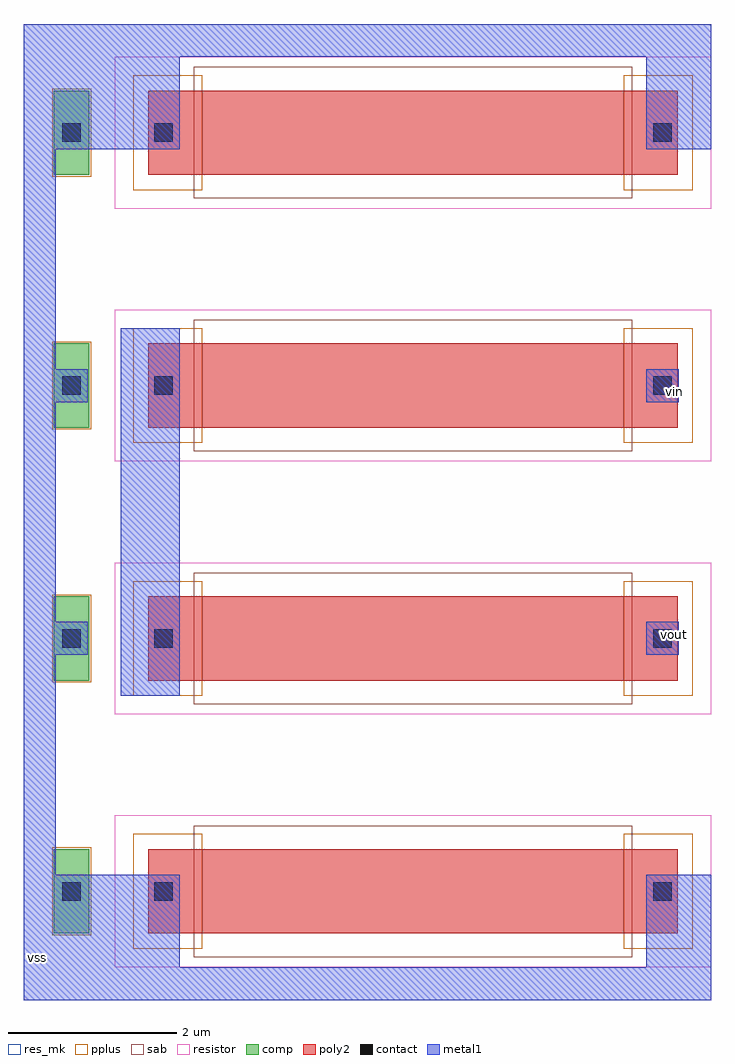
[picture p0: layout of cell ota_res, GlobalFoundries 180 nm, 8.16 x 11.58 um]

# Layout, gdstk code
import gdstk
lib = gdstk.Library(unit=1e-6, precision=1e-09)
def R(c, l, rs):  # rectangles x0, y0, x1, y1
    for r in rs: c.add(gdstk.rectangle(r[:2], r[2:], *l))
def A(c, l, x, y, w, h, nx, ny, dx, dy):  # array of equal rectangles
    R(c, l, [(x+i*dx, y+j*dy, x+i*dx+w, y+j*dy+h) for i in range(nx) for j in range(ny)])
comp = (22, 0)
poly2 = (30, 0)
pplus = (31, 0)
contact = (33, 0)
metal1 = (34, 0)
sab = (49, 0)
resistor = (62, 0)
res_mk = (110, 5)

ppolyf_u_high_rs_resisto = lib.new_cell('ppolyf_u_high_Rs_resistor')
A(ppolyf_u_high_rs_resisto, comp, -1.76, 0, 0.42, 1, 1, 4, 0, 3)
A(ppolyf_u_high_rs_resisto, poly2, -0.64, 0, 6.28, 1, 1, 4, 0, 3)
A(ppolyf_u_high_rs_resisto, pplus, -0.82, -0.18, 0.82, 1.36, 1, 4, 0, 3)
A(ppolyf_u_high_rs_resisto, pplus, 5, -0.18, 0.82, 1.36, 1, 4, 0, 3)
A(ppolyf_u_high_rs_resisto, pplus, -1.78, -0.02, 0.46, 1.04, 1, 4, 0, 3)
A(ppolyf_u_high_rs_resisto, contact, -1.66, 0.39, 0.22, 0.22, 1, 4, 0, 3)
A(ppolyf_u_high_rs_resisto, contact, -0.57, 0.39, 0.22, 0.22, 1, 4, 0, 3)
A(ppolyf_u_high_rs_resisto, contact, 5.35, 0.39, 0.22, 0.22, 1, 4, 0, 3)
A(ppolyf_u_high_rs_resisto, metal1, -1.74, 0.309, 0.38, 0.382, 1, 4, 0, 3)
A(ppolyf_u_high_rs_resisto, metal1, -0.65, 0.309, 0.38, 0.382, 1, 4, 0, 3)
A(ppolyf_u_high_rs_resisto, metal1, 5.27, 0.309, 0.38, 0.382, 1, 4, 0, 3)
A(ppolyf_u_high_rs_resisto, sab, -0.1, -0.28, 5.2, 1.56, 1, 4, 0, 3)
A(ppolyf_u_high_rs_resisto, resistor, -1.04, -0.4, 7.08, 1.8, 1, 4, 0, 3)
A(ppolyf_u_high_rs_resisto, res_mk, 0, 0, 5, 1, 1, 4, 0, 3)

ota_res = lib.new_cell('ota_res')
R(ota_res, metal1, [(0,0,0.38,11.58), (0.38,0,1.85,1.485), (1.85,0,7.77,0.39), (7.39,0,8.16,1.485), (1.15,3.61,1.85,7.97), (0.38,4.095,0.76,4.485), (7.39,4.095,7.77,4.485), (0.38,7.095,0.76,7.485), (7.39,7.095,7.77,7.485), (0.38,10.095,1.85,11.58), (7.39,10.095,8.16,11.58), (1.85,11.19,7.77,11.58)])
ota_res.add(gdstk.Reference(ppolyf_u_high_rs_resisto, (2.12,0.79)))
ota_res.add(gdstk.Label('vss', (0.165,0.505), layer=34, texttype=10))
ota_res.add(gdstk.Label('vout', (7.72,4.335), layer=34, texttype=10))
ota_res.add(gdstk.Label('vin', (7.72,7.225), layer=34, texttype=10))

lib.write_gds('ota_res.gds')
